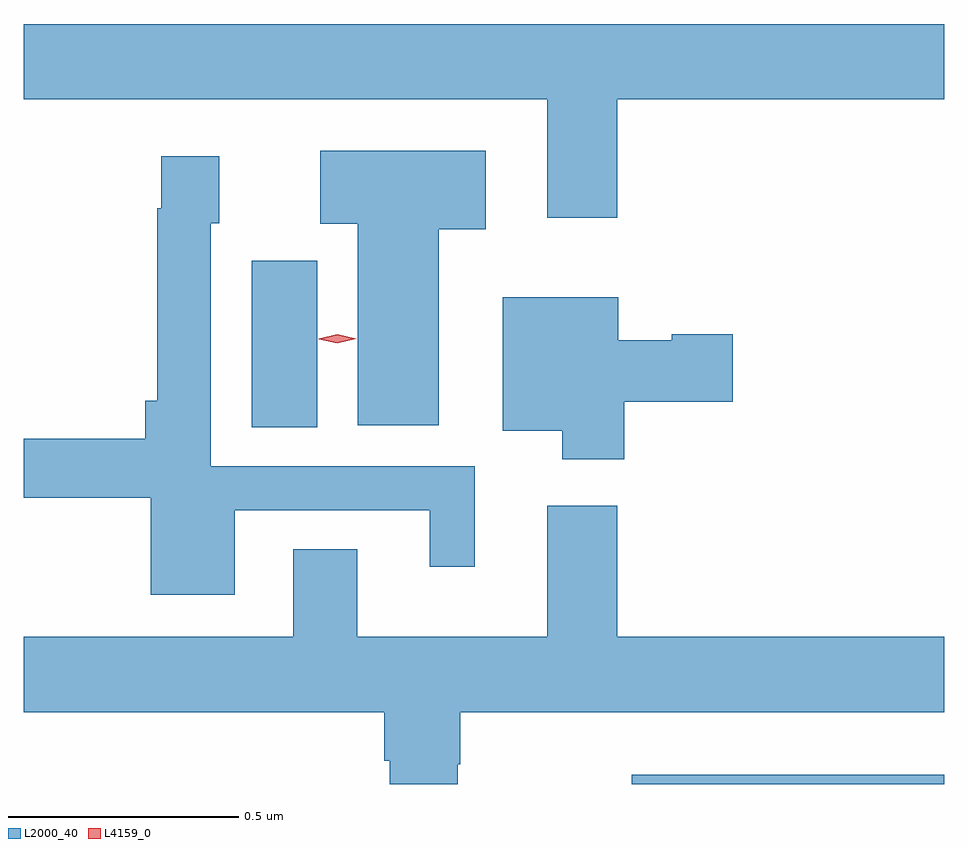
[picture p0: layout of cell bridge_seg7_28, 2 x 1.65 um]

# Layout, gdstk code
import gdstk
lib = gdstk.Library(unit=1e-6, precision=1e-09)
def R(c, l, rs):  # rectangles x0, y0, x1, y1
    for r in rs: c.add(gdstk.rectangle(r[:2], r[2:], *l))
def P(c, l, *ps):  # polygons
    for p in ps: c.add(gdstk.Polygon(p, *l))
L2000_40 = (2000, 40)
L4159_0 = (4159, 0)

bridge_seg7_28 = lib.new_cell('bridge_seg7_28')
R(bridge_seg7_28, L2000_40, [(1018.215,1060.4,1018.894,1060.42), (1017.389,1061.176,1017.532,1061.537)])
P(bridge_seg7_28, L2000_40, [(1018.184,1061.888),(1018.894,1061.888),(1018.894,1062.052),(1016.894,1062.052),(1016.894,1061.888),(1018.031,1061.888),(1018.031,1061.631),(1018.184,1061.631)],
  [(1017.796,1061.606),(1017.898,1061.606),(1017.898,1061.776),(1017.538,1061.776),(1017.538,1061.618),(1017.62,1061.618),(1017.62,1061.18),(1017.796,1061.18)],
  [(1017.352,1060.995),(1017.776,1060.995),(1017.776,1060.872),(1017.874,1060.872),(1017.874,1061.091),(1017.3,1061.091),(1017.3,1061.619),(1017.319,1061.619),(1017.319,1061.764),(1017.192,1061.764),(1017.192,1061.651),(1017.184,1061.651),(1017.184,1061.233),(1017.158,1061.233),(1017.158,1061.15),(1016.894,1061.15),(1016.894,1061.022),(1017.17,1061.022),(1017.17,1060.811),(1017.352,1060.811)],
  [(1018.199,1061.231),(1018.435,1061.231),(1018.435,1061.378),(1018.302,1061.378),(1018.302,1061.365),(1018.186,1061.365),(1018.186,1061.458),(1017.935,1061.458),(1017.935,1061.168),(1018.064,1061.168),(1018.064,1061.106),(1018.199,1061.106)],
  [(1017.837,1060.443),(1017.842,1060.443),(1017.842,1060.556),(1018.894,1060.556),(1018.894,1060.72),(1018.184,1060.72),(1018.184,1061.005),(1018.031,1061.005),(1018.031,1060.72),(1017.619,1060.72),(1017.619,1060.91),(1017.479,1060.91),(1017.479,1060.72),(1016.894,1060.72),(1016.894,1060.556),(1017.677,1060.556),(1017.677,1060.45),(1017.689,1060.45),(1017.689,1060.4),(1017.837,1060.4)])
P(bridge_seg7_28, L4159_0, [(1017.575,1061.358),(1017.535,1061.367),(1017.535,1061.368),(1017.535,1061.368),(1017.575,1061.378),(1017.616,1061.368),(1017.616,1061.368),(1017.616,1061.368)])

lib.write_gds('bridge_seg7_28.gds')
